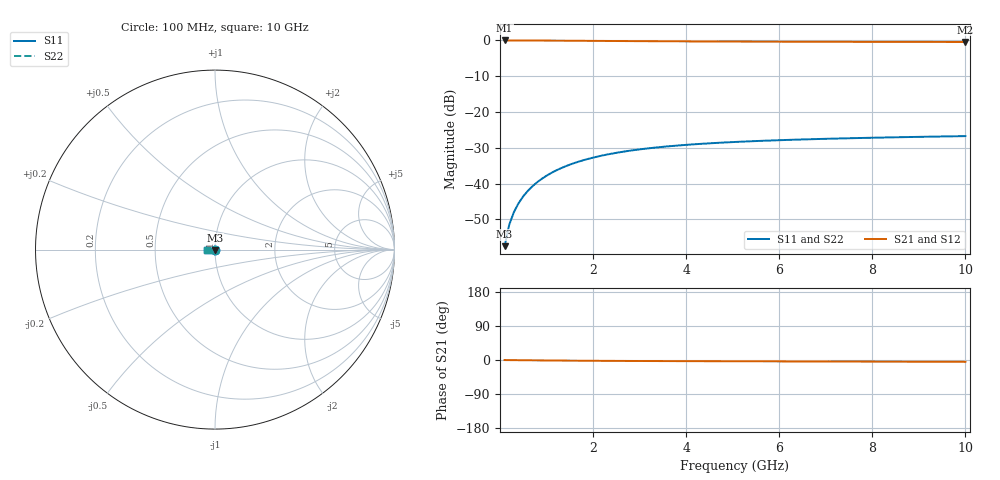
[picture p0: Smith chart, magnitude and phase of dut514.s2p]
! Touchstone file exported from HFSS 2024.1.0
!  File:  C:/UserFiles/LocalFiles/RDL_TSV_Batchsim/temp_TSV1_514_1779702772.aedt
!  Generated:  05:57:26 PM May 25, 2026
!  Design:  TSV1
!  Project:  temp_TSV1_514_1779702772
!  Setup:  Setup1
!  Solution:  Sweep
! Variables:
!  dtsv = 12.26um
!  hbump = 3um
!  htsv = 73.42um
!  lrdl = 252.1521522um
!  p = 40
!  p1 = 55.71um
!  t = 500um
!  trdl = 3um
!  wrdl = 24.89489489um
# GHz S MA R 50.000000
! Terminal data exported
! Port[1] = TSV22_T1
! Port[2] = TSV22_T2
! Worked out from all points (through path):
!   100 points, 100 MHz to 10 GHz, reference 50 ohm
!   highest |S21| = 0.00 dB at 100 MHz (marker M1); lowest = -0.4 dB at 10 GHz (marker M2)
!   lowest |S11| = -57.5 dB at 100 MHz (marker M3), VSWR 1.00, Z = 50 - j0.134 ohm
!   |S11| at or under -10 dB: start of sweep to end of sweep
!   |S22| runs from -57.5 to -26.7 dB; largest |S21 - S12| = 3.8e-15
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0.1  0.001338 -88.1  0.9999 -0.1  0.9999 -0.1  0.001338 -88.1
! Gamma 0 0 0 0
! Port Impedance 50 0 50 0
0.2  0.002672 -91.7  0.9997 -0.3  0.9997 -0.3  0.002672 -91.7
0.3  0.004004 -94.2  0.9995 -0.4  0.9995 -0.4  0.004004 -94.2
0.4  0.00533 -96.4  0.9991 -0.5  0.9991 -0.5  0.00533 -96.4
0.5  0.006643 -98.5  0.9987 -0.6  0.9987 -0.6  0.006643 -98.5
0.6  0.00794 -100.5  0.9983 -0.7  0.9983 -0.7  0.00794 -100.5
0.7  0.009217 -102.5  0.9977 -0.9  0.9977 -0.9  0.009217 -102.5
0.8  0.01047 -104.4  0.9971 -1.0  0.9971 -1.0  0.01047 -104.4
0.9  0.0117 -106.3  0.9964 -1.1  0.9964 -1.1  0.0117 -106.3
1.1  0.01406 -110.0  0.9949 -1.3  0.9949 -1.3  0.01406 -110.0
1.4  0.01738 -115.2  0.9924 -1.6  0.9924 -1.6  0.01738 -115.2
1.6  0.01942 -118.4  0.9905 -1.8  0.9905 -1.8  0.01942 -118.4
1.8  0.02132 -121.6  0.9886 -1.9  0.9886 -1.9  0.02132 -121.6
2.1  0.02391 -126.0  0.9858 -2.1  0.9858 -2.1  0.02391 -126.0
2.5  0.02694 -131.4  0.9821 -2.4  0.9821 -2.4  0.02694 -131.4
2.9  0.02951 -136.2  0.9786 -2.6  0.9786 -2.6  0.02951 -136.2
3.4  0.03219 -141.6  0.9747 -2.8  0.9747 -2.8  0.03219 -141.6
4.2  0.03554 -149.0  0.9694 -3.1  0.9694 -3.1  0.03554 -149.0
5.1  0.03832 -155.9  0.9647 -3.4  0.9647 -3.4  0.03832 -155.9
6.7  0.04177 -165.8  0.9589 -3.9  0.9589 -3.9  0.04176 -165.8
8.4  0.04428 -174.0  0.955 -4.4  0.955 -4.4  0.04428 -174.0
10  0.04611 179.5  0.9524 -4.8  0.9524 -4.8  0.04611 179.5
